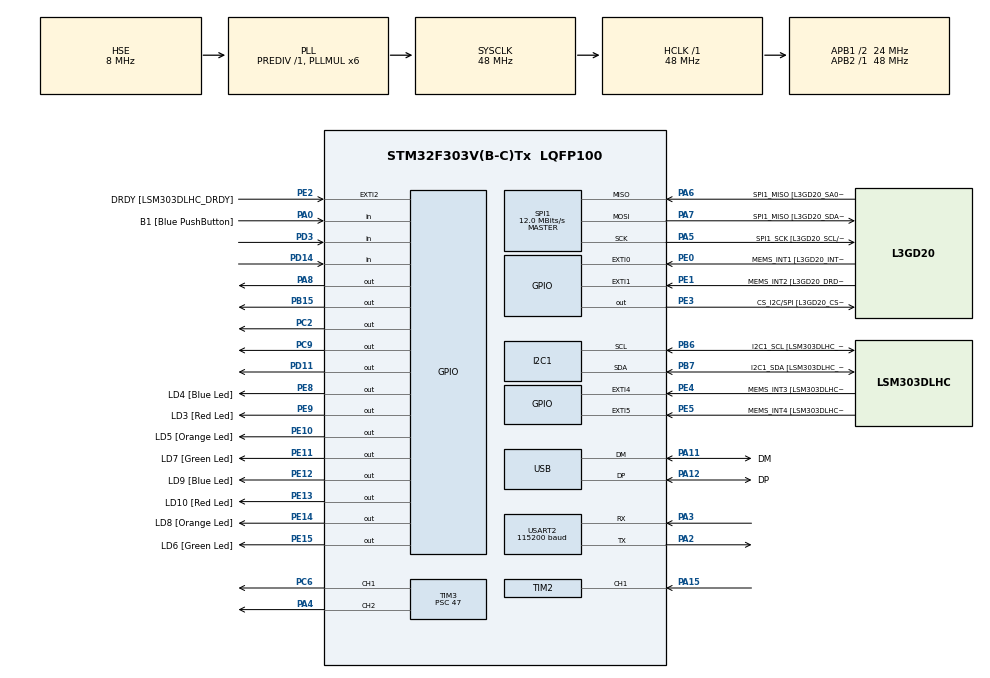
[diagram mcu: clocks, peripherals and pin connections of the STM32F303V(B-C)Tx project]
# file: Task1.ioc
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I2C1.Timing=0x00201D2B
I2C1.Timing-I2C=0x2000090E
Mcu.Family=STM32F3
Mcu.Name=STM32F303V(B-C)Tx
Mcu.Package=LQFP100
NVIC.PriorityGroup=NVIC_PRIORITYGROUP_0
NVIC.TIM2_IRQn=true\:0\:0\:false\:false\:true\:true\:true\:true
PA0.GPIO_Label=B1 [Blue PushButton]
PA0.Signal=GPIO_Input
PA11.GPIO_Label=DM
PA11.Mode=Device
PA11.Signal=USB_DM
PA12.GPIO_Label=DP
PA12.Mode=Device
PA12.Signal=USB_DP
PA13.GPIO_Label=SWDIO
PA13.Mode=Serial_Wire
PA13.Signal=SYS_JTMS-SWDIO
PA14.GPIO_Label=SWCLK
PA14.Mode=Serial_Wire
PA14.Signal=SYS_JTCK-SWCLK
PA15.Signal=S_TIM2_CH1_ETR
PA2.Mode=Asynchronous
PA2.Signal=USART2_TX
PA3.Mode=Asynchronous
PA3.Signal=USART2_RX
PA4.Signal=S_TIM3_CH2
PA5.GPIO_Label=SPI1_SCK [L3GD20_SCL/SPC]
PA5.Mode=Full_Duplex_Master
PA5.Signal=SPI1_SCK
PA6.GPIO_Label=SPI1_MISO [L3GD20_SA0/SDO]
PA6.Mode=Full_Duplex_Master
PA6.Signal=SPI1_MISO
PA7.GPIO_Label=SPI1_MISO [L3GD20_SDA/SDI/SDO]
PA7.Mode=Full_Duplex_Master
PA7.Signal=SPI1_MOSI
PA8.Signal=GPIO_Output
PB15.Signal=GPIO_Output
PB3.GPIO_Label=SWO
PB3.Signal=SYS_JTDO-TRACESWO
PB6.GPIO_Label=I2C1_SCL [LSM303DLHC_SCL]
PB6.GPIO_Pu=GPIO_PULLUP
PB6.Mode=I2C
PB6.Signal=I2C1_SCL
PB7.GPIO_Label=I2C1_SDA [LSM303DLHC_SDA]
PB7.GPIO_Pu=GPIO_PULLUP
PB7.Mode=I2C
PB7.Signal=I2C1_SDA
PC14-OSC32_IN.GPIO_Label=OSC32_IN
PC14-OSC32_IN.Signal=RCC_OSC32_IN
PC15-OSC32_OUT.GPIO_Label=OSC32_OUT
PC15-OSC32_OUT.Signal=RCC_OSC32_OUT
PC2.Signal=GPIO_Output
PC6.Signal=S_TIM3_CH1
PC9.Signal=GPIO_Output
PD11.Signal=GPIO_Output
PD14.Signal=GPIO_Input
PD3.Signal=GPIO_Input
PE0.GPIO_Label=MEMS_INT1 [L3GD20_INT1]
PE0.GPIO_ModeDefaultEXTI=GPIO_MODE_EVT_RISING
PE0.Signal=GPXTI0
PE1.GPIO_Label=MEMS_INT2 [L3GD20_DRDY/INT2]
PE1.GPIO_ModeDefaultEXTI=GPIO_MODE_EVT_RISING
PE1.Signal=GPXTI1
PE10.GPIO_Label=LD5 [Orange Led]
PE10.Signal=GPIO_Output
PE11.GPIO_Label=LD7 [Green Led]
PE11.Signal=GPIO_Output
PE12.GPIO_Label=LD9 [Blue Led]
PE12.Signal=GPIO_Output
PE13.GPIO_Label=LD10 [Red Led]
PE13.Signal=GPIO_Output
PE14.GPIO_Label=LD8 [Orange Led]
PE14.Signal=GPIO_Output
PE15.GPIO_Label=LD6 [Green Led]
PE15.Signal=GPIO_Output
PE2.GPIO_Label=DRDY [LSM303DLHC_DRDY]
PE2.GPIO_ModeDefaultEXTI=GPIO_MODE_EVT_RISING
PE2.Signal=GPXTI2
PE3.GPIO_Label=CS_I2C/SPI [L3GD20_CS_I2C/SPI]
PE3.Signal=GPIO_Output
PE4.GPIO_Label=MEMS_INT3 [LSM303DLHC_INT1]
PE4.GPIO_ModeDefaultEXTI=GPIO_MODE_EVT_RISING
PE4.Signal=GPXTI4
PE5.GPIO_Label=MEMS_INT4 [LSM303DLHC_INT2]
PE5.GPIO_ModeDefaultEXTI=GPIO_MODE_EVT_RISING
PE5.Signal=GPXTI5
PE8.GPIO_Label=LD4 [Blue Led]
PE8.Signal=GPIO_Output
PE9.GPIO_Label=LD3 [Red Led]
PE9.Signal=GPIO_Output
PF0-OSC_IN.GPIO_Label=OSC_IN
PF0-OSC_IN.Mode=HSE-External-Clock-Source
PF0-OSC_IN.Signal=RCC_OSC_IN
PF1-OSC_OUT.GPIO_Label=OSC_OUT
PF1-OSC_OUT.Signal=RCC_OSC_OUT
ProjectManager.HeapSize=0x200
ProjectManager.StackSize=0x400
ProjectManager.TargetToolchain=CMake
RCC.AHBFreq_Value=48000000
RCC.APB1CLKDivider=RCC_HCLK_DIV2
RCC.APB1Freq_Value=24000000
RCC.APB1TimFreq_Value=48000000
RCC.APB2Freq_Value=48000000
RCC.APB2TimFreq_Value=48000000
RCC.CortexFreq_Value=48000000
RCC.HCLKFreq_Value=48000000
RCC.HSE_VALUE=8000000
RCC.HSI_VALUE=8000000
RCC.LSE_VALUE=32768
RCC.PLLMUL=RCC_PLL_MUL6
RCC.SYSCLKFreq_VALUE=48000000
RCC.SYSCLKSourceVirtual=RCC_SYSCLKSOURCE_PLLCLK
RCC.USBFreq_Value=48000000
SH.S_TIM2_CH1_ETR.0=TIM2_CH1,Input_Capture1_from_TI1
SH.S_TIM3_CH1.0=TIM3_CH1,PWM Generation1 CH1
SH.S_TIM3_CH2.0=TIM3_CH2,PWM Generation2 CH2
SPI1.BaudRatePrescaler=SPI_BAUDRATEPRESCALER_4
SPI1.BaudRatePrescaler-Full_Duplex_Master=SPI_BAUDRATEPRESCALER_2
SPI1.CalculateBaudRate=12.0 MBits/s
SPI1.CalculateBaudRate-Full_Duplex_Master=24.0 MBits/s
SPI1.Direction=SPI_DIRECTION_2LINES
SPI1.Mode=SPI_MODE_MASTER
SPI1.Mode-Full_Duplex_Master=SPI_MODE_MASTER
SPI1.VirtualType=VM_MASTER
TIM2.Channel-Input_Capture1_from_TI1=TIM_CHANNEL_1
TIM2.Prescaler=0
TIM3.Channel-PWM\ Generation1\ CH1=TIM_CHANNEL_1
TIM3.Channel-PWM\ Generation2\ CH2=TIM_CHANNEL_2
TIM3.Period=999
TIM3.Prescaler=47
TIM3.Pulse-PWM\ Generation1\ CH1=500
USART2.BaudRate=115200
USART2.VirtualMode-Asynchronous=VM_ASYNC
VP_TIM2_VS_ClockSourceINT.Mode=Internal
board=STM32F3DISCOVERY

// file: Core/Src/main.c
/* USER CODE BEGIN Header */
/**
  ******************************************************************************
  * @file           : main.c
  * @brief          : Main program body
  ******************************************************************************
  * @attention
  *
  * Copyright (c) 2026 STMicroelectronics.
  * All rights reserved.
  *
  * This software is licensed under terms that can be found in the LICENSE file
  * in the root directory of this software component.
  * If no LICENSE file comes with this software, it is provided AS-IS.
  *
  ******************************************************************************
  */
/* USER CODE END Header */
#include "main.h"

/* USER CODE BEGIN Includes */
#include "stdarg.h"
#include "stdio.h"
#include "string.h"
/* USER CODE END Includes */

I2C_HandleTypeDef hi2c1;

SPI_HandleTypeDef hspi1;

TIM_HandleTypeDef htim2;
TIM_HandleTypeDef htim3;

UART_HandleTypeDef huart2;

PCD_HandleTypeDef hpcd_USB_FS;

void SystemClock_Config(void);
static void MX_GPIO_Init(void);
static void MX_I2C1_Init(void);
static void MX_SPI1_Init(void);
static void MX_TIM3_Init(void);
static void MX_USB_PCD_Init(void);
static void MX_TIM2_Init(void);
static void MX_USART2_UART_Init(void);

/* USER CODE BEGIN 0 */

void disableMotors(void){
    uint32_t periodValue = 999U;
    __HAL_TIM_SET_COMPARE(&htim3, TIM_CHANNEL_1 , periodValue);
    __HAL_TIM_SET_COMPARE(&htim3, TIM_CHANNEL_2 , periodValue);
    HAL_GPIO_WritePin(GPIOD, GPIO_PIN_11, GPIO_PIN_SET);
    HAL_GPIO_WritePin(GPIOB, GPIO_PIN_15, GPIO_PIN_SET);
    HAL_GPIO_WritePin(GPIOC, GPIO_PIN_9, GPIO_PIN_SET);
    HAL_GPIO_WritePin(GPIOC, GPIO_PIN_2, GPIO_PIN_SET);
}

void runMotorForward(void){
    uint32_t dutyCycleMax = 999U;
    HAL_GPIO_WritePin(GPIOD, GPIO_PIN_11, GPIO_PIN_RESET);
    HAL_GPIO_WritePin(GPIOB, GPIO_PIN_15, GPIO_PIN_SET);
    __HAL_TIM_SET_COMPARE(&htim3, TIM_CHANNEL_1, dutyCycleMax);
    HAL_GPIO_WritePin(GPIOC, GPIO_PIN_9, GPIO_PIN_RESET);
    HAL_GPIO_WritePin(GPIOC, GPIO_PIN_2, GPIO_PIN_SET);
    __HAL_TIM_SET_COMPARE(&htim3, TIM_CHANNEL_2, dutyCycleMax);
}
void runMotorBackward(void){
    uint32_t backwardDuty = 299U;
    HAL_GPIO_WritePin(GPIOD, GPIO_PIN_11, GPIO_PIN_SET);
    HAL_GPIO_WritePin(GPIOB, GPIO_PIN_15, GPIO_PIN_RESET);
    __HAL_TIM_SET_COMPARE(&htim3, TIM_CHANNEL_1, backwardDuty);
    HAL_GPIO_WritePin(GPIOC, GPIO_PIN_9, GPIO_PIN_SET);
    HAL_GPIO_WritePin(GPIOC, GPIO_PIN_2, GPIO_PIN_RESET);
    __HAL_TIM_SET_COMPARE(&htim3, TIM_CHANNEL_2, backwardDuty);
}

void serialOutput(const char *formatStr, ...) {
    char serialBuffer[128];
    va_list arguments;
    va_start(arguments, formatStr);
    int stringLength = vsnprintf(serialBuffer, sizeof(serialBuffer), formatStr, arguments);
    va_end(arguments);
    if (stringLength > 0) {
        HAL_UART_Transmit(&huart2, (uint8_t*)serialBuffer, stringLength, HAL_MAX_DELAY);
    }
}

/* Measurement Configuration */
const float PULSES_PER_ROTATION = 330.0f;
const float CLOCK_FREQUENCY = 47999999.00f;

/* State Variables */
volatile uint32_t timingData = 0u;
volatile uint8_t newDataAvailable = 0u;

void HAL_TIM_IC_CaptureCallback(TIM_HandleTypeDef *htim) {
    if (htim->Instance == TIM2) {
        timingData = HAL_TIM_ReadCapturedValue(htim, TIM_CHANNEL_1);
        __HAL_TIM_SET_COUNTER(htim, 0);
        newDataAvailable = 1u;
    }
}

/* USER CODE END 0 */

int main(void)
{

  /* MCU Configuration--------------------------------------------------------*/

  /* Reset of all peripherals, Initializes the Flash interface and the Systick. */
  HAL_Init();

  /* Configure the system clock */
  SystemClock_Config();

  /* Initialize all configured peripherals */
  MX_GPIO_Init();
  MX_I2C1_Init();
  MX_SPI1_Init();
  MX_TIM3_Init();
  MX_USB_PCD_Init();
  MX_TIM2_Init();
  MX_USART2_UART_Init();

  /* Infinite loop */
  /* USER CODE BEGIN WHILE */
  // Startt PWM for both motors
  HAL_TIM_PWM_Start(&htim3, TIM_CHANNEL_1);  // Left motor PWM (D9)
  HAL_TIM_PWM_Start(&htim3, TIM_CHANNEL_2);  // Right motor PWM (D10)

  // Set initial direction: FORWARD
  // D12 = HIGH, D8 = LOW for right motor forward
  // D7 = HIGH, D6 = LOW for left motor forward

  /* USER CODE END 2 */

  /* Start motor PWM and timer input capture */
  /* USER CODE BEGIN 2 */
  HAL_TIM_PWM_Start(&htim3, TIM_CHANNEL_1);
  HAL_TIM_PWM_Start(&htim3, TIM_CHANNEL_2);
  HAL_TIM_IC_Start_IT(&htim2, TIM_CHANNEL_1);
  /* USER CODE END 2 */

  /* Infinite loop */
  /* USER CODE BEGIN WHILE */
  while (1)
  {
    HAL_GPIO_WritePin(GPIOC, GPIO_PIN_2, GPIO_PIN_SET);
    HAL_GPIO_WritePin(GPIOC, GPIO_PIN_9, GPIO_PIN_RESET);
    __HAL_TIM_SET_COMPARE(&htim3, TIM_CHANNEL_2, 200);

    HAL_GPIO_WritePin(GPIOD, GPIO_PIN_11, GPIO_PIN_SET);
    HAL_GPIO_WritePin(GPIOB, GPIO_PIN_15, GPIO_PIN_RESET);
    __HAL_TIM_SET_COMPARE(&htim3, TIM_CHANNEL_1, 200);

    if (newDataAvailable) {
        if (timingData > 0u) {
            float freq_hz = CLOCK_FREQUENCY / (float)timingData;
            float revolutions_per_minute = (freq_hz * 60.0f) / PULSES_PER_ROTATION;
            serialOutput("Freq: %d Hz | RPM: %d\r\n", (int)freq_hz, (int)revolutions_per_minute);
        }
        newDataAvailable = 0u;
    }
    HAL_Delay(250);
    /* USER CODE END WHILE */

  }
}

void SystemClock_Config(void)
{
  RCC_OscInitTypeDef RCC_OscInitStruct = {0};
  RCC_ClkInitTypeDef RCC_ClkInitStruct = {0};
  RCC_PeriphCLKInitTypeDef PeriphClkInit = {0};

  /** Initializes the RCC Oscillators according to the specified parameters
  * in the RCC_OscInitTypeDef structure.
  */
  RCC_OscInitStruct.OscillatorType = RCC_OSCILLATORTYPE_HSI|RCC_OSCILLATORTYPE_HSE;
  RCC_OscInitStruct.HSEState = RCC_HSE_BYPASS;
  RCC_OscInitStruct.HSEPredivValue = RCC_HSE_PREDIV_DIV1;
  RCC_OscInitStruct.HSIState = RCC_HSI_ON;
  RCC_OscInitStruct.HSICalibrationValue = RCC_HSICALIBRATION_DEFAULT;
  RCC_OscInitStruct.PLL.PLLState = RCC_PLL_ON;
  RCC_OscInitStruct.PLL.PLLSource = RCC_PLLSOURCE_HSE;
  RCC_OscInitStruct.PLL.PLLMUL = RCC_PLL_MUL6;
  if (HAL_RCC_OscConfig(&RCC_OscInitStruct) != HAL_OK)
  {
    Error_Handler();
  }

  /** Initializes the CPU, AHB and APB buses clocks
  */
  RCC_ClkInitStruct.ClockType = RCC_CLOCKTYPE_HCLK|RCC_CLOCKTYPE_SYSCLK
                              |RCC_CLOCKTYPE_PCLK1|RCC_CLOCKTYPE_PCLK2;
  RCC_ClkInitStruct.SYSCLKSource = RCC_SYSCLKSOURCE_PLLCLK;
  RCC_ClkInitStruct.AHBCLKDivider = RCC_SYSCLK_DIV1;
  RCC_ClkInitStruct.APB1CLKDivider = RCC_HCLK_DIV2;
  RCC_ClkInitStruct.APB2CLKDivider = RCC_HCLK_DIV1;

  if (HAL_RCC_ClockConfig(&RCC_ClkInitStruct, FLASH_LATENCY_1) != HAL_OK)
  {
    Error_Handler();
  }
  PeriphClkInit.PeriphClockSelection = RCC_PERIPHCLK_USB|RCC_PERIPHCLK_USART2
                              |RCC_PERIPHCLK_I2C1;
  PeriphClkInit.Usart2ClockSelection = RCC_USART2CLKSOURCE_PCLK1;
  PeriphClkInit.I2c1ClockSelection = RCC_I2C1CLKSOURCE_HSI;
  PeriphClkInit.USBClockSelection = RCC_USBCLKSOURCE_PLL;
  if (HAL_RCCEx_PeriphCLKConfig(&PeriphClkInit) != HAL_OK)
  {
    Error_Handler();
  }
}

static void MX_I2C1_Init(void)
{

  hi2c1.Instance = I2C1;
  hi2c1.Init.Timing = 0x00201D2B;
  hi2c1.Init.OwnAddress1 = 0;
  hi2c1.Init.AddressingMode = I2C_ADDRESSINGMODE_7BIT;
  hi2c1.Init.DualAddressMode = I2C_DUALADDRESS_DISABLE;
  hi2c1.Init.OwnAddress2 = 0;
  hi2c1.Init.OwnAddress2Masks = I2C_OA2_NOMASK;
  hi2c1.Init.GeneralCallMode = I2C_GENERALCALL_DISABLE;
  hi2c1.Init.NoStretchMode = I2C_NOSTRETCH_DISABLE;
  if (HAL_I2C_Init(&hi2c1) != HAL_OK)
  {
    Error_Handler();
  }

  /** Configure Analogue filter
  */
  if (HAL_I2CEx_ConfigAnalogFilter(&hi2c1, I2C_ANALOGFILTER_ENABLE) != HAL_OK)
  {
    Error_Handler();
  }

  /** Configure Digital filter
  */
  if (HAL_I2CEx_ConfigDigitalFilter(&hi2c1, 0) != HAL_OK)
  {
    Error_Handler();
  }

}

static void MX_SPI1_Init(void)
{

  /* SPI1 parameter configuration*/
  hspi1.Instance = SPI1;
  hspi1.Init.Mode = SPI_MODE_MASTER;
  hspi1.Init.Direction = SPI_DIRECTION_2LINES;
  hspi1.Init.DataSize = SPI_DATASIZE_4BIT;
  hspi1.Init.CLKPolarity = SPI_POLARITY_LOW;
  hspi1.Init.CLKPhase = SPI_PHASE_1EDGE;
  hspi1.Init.NSS = SPI_NSS_SOFT;
  hspi1.Init.BaudRatePrescaler = SPI_BAUDRATEPRESCALER_4;
  hspi1.Init.FirstBit = SPI_FIRSTBIT_MSB;
  hspi1.Init.TIMode = SPI_TIMODE_DISABLE;
  hspi1.Init.CRCCalculation = SPI_CRCCALCULATION_DISABLE;
  hspi1.Init.CRCPolynomial = 7;
  hspi1.Init.CRCLength = SPI_CRC_LENGTH_DATASIZE;
  hspi1.Init.NSSPMode = SPI_NSS_PULSE_ENABLE;
  if (HAL_SPI_Init(&hspi1) != HAL_OK)
  {
    Error_Handler();
  }

}

static void MX_TIM2_Init(void)
{

  TIM_ClockConfigTypeDef sClockSourceConfig = {0};
  TIM_MasterConfigTypeDef sMasterConfig = {0};
  TIM_IC_InitTypeDef sConfigIC = {0};

  htim2.Instance = TIM2;
  htim2.Init.Prescaler = 71;
  htim2.Init.CounterMode = TIM_COUNTERMODE_UP;
  htim2.Init.Period = 4294967295;
  htim2.Init.ClockDivision = TIM_CLOCKDIVISION_DIV1;
  htim2.Init.AutoReloadPreload = TIM_AUTORELOAD_PRELOAD_DISABLE;
  if (HAL_TIM_Base_Init(&htim2) != HAL_OK)
  {
    Error_Handler();
  }
  sClockSourceConfig.ClockSource = TIM_CLOCKSOURCE_INTERNAL;
  if (HAL_TIM_ConfigClockSource(&htim2, &sClockSourceConfig) != HAL_OK)
  {
    Error_Handler();
  }
  if (HAL_TIM_IC_Init(&htim2) != HAL_OK)
  {
    Error_Handler();
  }
  sMasterConfig.MasterOutputTrigger = TIM_TRGO_RESET;
  sMasterConfig.MasterSlaveMode = TIM_MASTERSLAVEMODE_DISABLE;
  if (HAL_TIMEx_MasterConfigSynchronization(&htim2, &sMasterConfig) != HAL_OK)
  {
    Error_Handler();
  }
  sConfigIC.ICPolarity = TIM_INPUTCHANNELPOLARITY_RISING;
  sConfigIC.ICSelection = TIM_ICSELECTION_DIRECTTI;
  sConfigIC.ICPrescaler = TIM_ICPSC_DIV1;
  sConfigIC.ICFilter = 0;
  if (HAL_TIM_IC_ConfigChannel(&htim2, &sConfigIC, TIM_CHANNEL_1) != HAL_OK)
  {
    Error_Handler();
  }

}

static void MX_TIM3_Init(void)
{

  TIM_MasterConfigTypeDef sMasterConfig = {0};
  TIM_OC_InitTypeDef sConfigOC = {0};

  htim3.Instance = TIM3;
  htim3.Init.Prescaler = 47;
  htim3.Init.CounterMode = TIM_COUNTERMODE_UP;
  htim3.Init.Period = 999;
  htim3.Init.ClockDivision = TIM_CLOCKDIVISION_DIV1;
  htim3.Init.AutoReloadPreload = TIM_AUTORELOAD_PRELOAD_DISABLE;
  if (HAL_TIM_PWM_Init(&htim3) != HAL_OK)
  {
    Error_Handler();
  }
  sMasterConfig.MasterOutputTrigger = TIM_TRGO_RESET;
  sMasterConfig.MasterSlaveMode = TIM_MASTERSLAVEMODE_DISABLE;
  if (HAL_TIMEx_MasterConfigSynchronization(&htim3, &sMasterConfig) != HAL_OK)
  {
    Error_Handler();
  }
  sConfigOC.OCMode = TIM_OCMODE_PWM1;
  sConfigOC.Pulse = 500;
  sConfigOC.OCPolarity = TIM_OCPOLARITY_HIGH;
  sConfigOC.OCFastMode = TIM_OCFAST_DISABLE;
  if (HAL_TIM_PWM_ConfigChannel(&htim3, &sConfigOC, TIM_CHANNEL_1) != HAL_OK)
  {
    Error_Handler();
  }
  sConfigOC.Pulse = 0;
  if (HAL_TIM_PWM_ConfigChannel(&htim3, &sConfigOC, TIM_CHANNEL_2) != HAL_OK)
  {
    Error_Handler();
  }
  HAL_TIM_MspPostInit(&htim3);

}

static void MX_USART2_UART_Init(void)
{

  huart2.Instance = USART2;
  huart2.Init.BaudRate = 115200;
  huart2.Init.WordLength = UART_WORDLENGTH_8B;
  huart2.Init.StopBits = UART_STOPBITS_1;
  huart2.Init.Parity = UART_PARITY_NONE;
  huart2.Init.Mode = UART_MODE_TX_RX;
  huart2.Init.HwFlowCtl = UART_HWCONTROL_NONE;
  huart2.Init.OverSampling = UART_OVERSAMPLING_16;
  huart2.Init.OneBitSampling = UART_ONE_BIT_SAMPLE_DISABLE;
  huart2.AdvancedInit.AdvFeatureInit = UART_ADVFEATURE_NO_INIT;
  if (HAL_UART_Init(&huart2) != HAL_OK)
  {
    Error_Handler();
  }

}

static void MX_USB_PCD_Init(void)
{

  hpcd_USB_FS.Instance = USB;
  hpcd_USB_FS.Init.dev_endpoints = 8;
  hpcd_USB_FS.Init.speed = PCD_SPEED_FULL;
  hpcd_USB_FS.Init.phy_itface = PCD_PHY_EMBEDDED;
  hpcd_USB_FS.Init.low_power_enable = DISABLE;
  hpcd_USB_FS.Init.battery_charging_enable = DISABLE;
  if (HAL_PCD_Init(&hpcd_USB_FS) != HAL_OK)
  {
    Error_Handler();
  }

}

static void MX_GPIO_Init(void)
{
  GPIO_InitTypeDef GPIO_InitStruct = {0};

  /* GPIO Ports Clock Enable */
  __HAL_RCC_GPIOE_CLK_ENABLE();
  __HAL_RCC_GPIOC_CLK_ENABLE();
  __HAL_RCC_GPIOF_CLK_ENABLE();
  __HAL_RCC_GPIOA_CLK_ENABLE();
  __HAL_RCC_GPIOB_CLK_ENABLE();
  __HAL_RCC_GPIOD_CLK_ENABLE();

  /*Configure GPIO pin Output Level */
  HAL_GPIO_WritePin(GPIOE, CS_I2C_SPI_Pin|LD4_Pin|LD3_Pin|LD5_Pin
                          |LD7_Pin|LD9_Pin|LD10_Pin|LD8_Pin
                          |LD6_Pin, GPIO_PIN_RESET);

  /*Configure GPIO pin Output Level */
  HAL_GPIO_WritePin(GPIOC, GPIO_PIN_2|GPIO_PIN_9, GPIO_PIN_RESET);

  /*Configure GPIO pin Output Level */
  HAL_GPIO_WritePin(GPIOB, GPIO_PIN_15, GPIO_PIN_RESET);

  /*Configure GPIO pin Output Level */
  HAL_GPIO_WritePin(GPIOD, GPIO_PIN_11, GPIO_PIN_RESET);

  /*Configure GPIO pin Output Level */
  HAL_GPIO_WritePin(GPIOA, GPIO_PIN_8, GPIO_PIN_RESET);

  /*Configure GPIO pins : DRDY_Pin MEMS_INT3_Pin MEMS_INT4_Pin MEMS_INT1_Pin
                           MEMS_INT2_Pin */
  GPIO_InitStruct.Pin = DRDY_Pin|MEMS_INT3_Pin|MEMS_INT4_Pin|MEMS_INT1_Pin
                          |MEMS_INT2_Pin;
  GPIO_InitStruct.Mode = GPIO_MODE_EVT_RISING;
  GPIO_InitStruct.Pull = GPIO_NOPULL;
  HAL_GPIO_Init(GPIOE, &GPIO_InitStruct);

  /*Configure GPIO pins : CS_I2C_SPI_Pin LD4_Pin LD3_Pin LD5_Pin
                           LD7_Pin LD9_Pin LD10_Pin LD8_Pin
                           LD6_Pin */
  GPIO_InitStruct.Pin = CS_I2C_SPI_Pin|LD4_Pin|LD3_Pin|LD5_Pin
                          |LD7_Pin|LD9_Pin|LD10_Pin|LD8_Pin
                          |LD6_Pin;
  GPIO_InitStruct.Mode = GPIO_MODE_OUTPUT_PP;
  GPIO_InitStruct.Pull = GPIO_NOPULL;
  GPIO_InitStruct.Speed = GPIO_SPEED_FREQ_LOW;
  HAL_GPIO_Init(GPIOE, &GPIO_InitStruct);

  /*Configure GPIO pins : PC2 PC9 */
  GPIO_InitStruct.Pin = GPIO_PIN_2|GPIO_PIN_9;
  GPIO_InitStruct.Mode = GPIO_MODE_OUTPUT_PP;
  GPIO_InitStruct.Pull = GPIO_NOPULL;
  GPIO_InitStruct.Speed = GPIO_SPEED_FREQ_LOW;
  HAL_GPIO_Init(GPIOC, &GPIO_InitStruct);

  /*Configure GPIO pin : B1_Pin */
  GPIO_InitStruct.Pin = B1_Pin;
  GPIO_InitStruct.Mode = GPIO_MODE_INPUT;
  GPIO_InitStruct.Pull = GPIO_NOPULL;
  HAL_GPIO_Init(B1_GPIO_Port, &GPIO_InitStruct);

  /*Configure GPIO pin : PB15 */
  GPIO_InitStruct.Pin = GPIO_PIN_15;
  GPIO_InitStruct.Mode = GPIO_MODE_OUTPUT_PP;
  GPIO_InitStruct.Pull = GPIO_NOPULL;
  GPIO_InitStruct.Speed = GPIO_SPEED_FREQ_LOW;
  HAL_GPIO_Init(GPIOB, &GPIO_InitStruct);

  /*Configure GPIO pin : PD11 */
  GPIO_InitStruct.Pin = GPIO_PIN_11;
  GPIO_InitStruct.Mode = GPIO_MODE_OUTPUT_PP;
  GPIO_InitStruct.Pull = GPIO_NOPULL;
  GPIO_InitStruct.Speed = GPIO_SPEED_FREQ_LOW;
  HAL_GPIO_Init(GPIOD, &GPIO_InitStruct);

  /*Configure GPIO pins : PD14 PD3 */
  GPIO_InitStruct.Pin = GPIO_PIN_14|GPIO_PIN_3;
  GPIO_InitStruct.Mode = GPIO_MODE_INPUT;
  GPIO_InitStruct.Pull = GPIO_NOPULL;
  HAL_GPIO_Init(GPIOD, &GPIO_InitStruct);

  /*Configure GPIO pin : PA8 */
  GPIO_InitStruct.Pin = GPIO_PIN_8;
  GPIO_InitStruct.Mode = GPIO_MODE_OUTPUT_PP;
  GPIO_InitStruct.Pull = GPIO_NOPULL;
  GPIO_InitStruct.Speed = GPIO_SPEED_FREQ_LOW;
  HAL_GPIO_Init(GPIOA, &GPIO_InitStruct);

}

void Error_Handler(void)
{
  __disable_irq();
  while (1)
  {
  }
}
